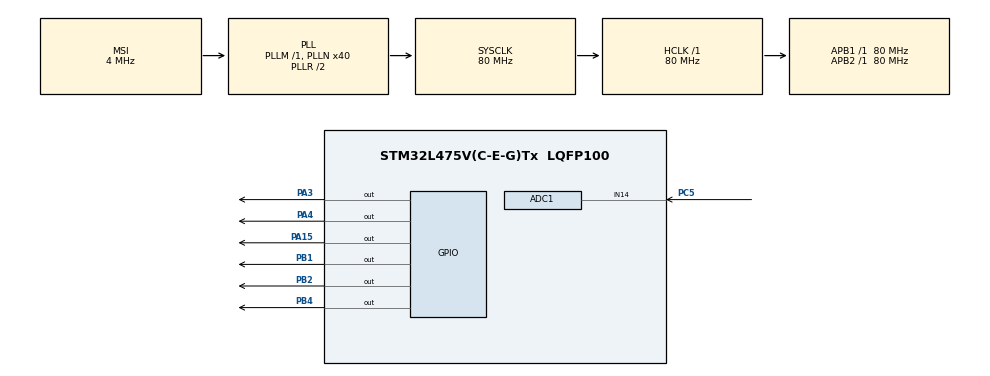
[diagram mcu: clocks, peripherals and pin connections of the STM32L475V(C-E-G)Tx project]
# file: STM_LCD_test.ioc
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ADC1.Channel-0\#ChannelRegularConversion=ADC_CHANNEL_14
ADC1.NbrOfConversionFlag=1
ADC1.OffsetNumber-0\#ChannelRegularConversion=ADC_OFFSET_NONE
ADC1.Rank-0\#ChannelRegularConversion=1
ADC1.SamplingTime-0\#ChannelRegularConversion=ADC_SAMPLETIME_2CYCLES_5
ADC1.master=1
Mcu.Family=STM32L4
Mcu.Name=STM32L475V(C-E-G)Tx
Mcu.Package=LQFP100
NVIC.PriorityGroup=NVIC_PRIORITYGROUP_4
PA15\ (JTDI).Signal=GPIO_Output
PA3.Signal=GPIO_Output
PA4.Signal=GPIO_Output
PB1.Signal=GPIO_Output
PB2.Signal=GPIO_Output
PB4\ (NJTRST).Signal=GPIO_Output
PC5.Signal=ADCx_IN14
ProjectManager.HeapSize=0x200
ProjectManager.StackSize=0x400
ProjectManager.TargetToolchain=STM32CubeIDE
RCC.ADCFreq_Value=32000000
RCC.AHBFreq_Value=80000000
RCC.APB1Freq_Value=80000000
RCC.APB1TimFreq_Value=80000000
RCC.APB2Freq_Value=80000000
RCC.APB2TimFreq_Value=80000000
RCC.CortexFreq_Value=80000000
RCC.HCLKFreq_Value=80000000
RCC.HSE_VALUE=8000000
RCC.HSI_VALUE=16000000
RCC.LSE_VALUE=32768
RCC.MSI_VALUE=4000000
RCC.PLLN=40
RCC.PLLSAI1N=16
RCC.SYSCLKFreq_VALUE=80000000
RCC.SYSCLKSource=RCC_SYSCLKSOURCE_PLLCLK
RCC.USBFreq_Value=32000000
RCC.VCOOutputFreq_Value=160000000
SH.ADCx_IN14.0=ADC1_IN14,IN14-Single-Ended
board=custom

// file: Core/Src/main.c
/* USER CODE BEGIN Header */
/**
  ******************************************************************************
  * @file           : main.c
  * @brief          : Main program body
  ******************************************************************************
  * @attention
  *
  * Copyright (c) 2025 STMicroelectronics.
  * All rights reserved.
  *
  * This software is licensed under terms that can be found in the LICENSE file
  * in the root directory of this software component.
  * If no LICENSE file comes with this software, it is provided AS-IS.
  *
  ******************************************************************************
  */
/* USER CODE END Header */
#include "main.h"

/* USER CODE BEGIN Includes */
#include "lcd.h"

#include <stdio.h>
/* USER CODE END Includes */

ADC_HandleTypeDef hadc1;

/* USER CODE BEGIN PV */

uint32_t int_value = 0;
/* USER CODE END PV */

void SystemClock_Config(void);
static void MX_GPIO_Init(void);
static void MX_ADC1_Init(void);

/* USER CODE BEGIN 0 */ //!!!!!!!!!!!!!!!!!!!!!!!!!!!!!!!!!!!!

static uint16_t ADC_ReadOnce(void)
{
  HAL_ADC_Start(&hadc1);
  HAL_ADC_PollForConversion(&hadc1, 10);
  uint16_t v = (uint16_t)HAL_ADC_GetValue(&hadc1);
  HAL_ADC_Stop(&hadc1);
  return v;
}

static uint16_t ADC_ReadAvg(uint8_t n)
{
  uint32_t sum = 0;
  for (uint8_t i = 0; i < n; i++)
  {
    sum += ADC_ReadOnce();
    HAL_Delay(2);
  }
  return (uint16_t)(sum / n);
}

typedef enum {
  BTN_NONE = 0,
  BTN_RIGHT,
  BTN_UP,
  BTN_DOWN,
  BTN_LEFT,
  BTN_SELECT
} Button_t;

// Platzhalter-Schwellen -> nach Messung anpassen!
static Button_t Button_FromAdc(uint16_t adc)
{
  // gemessene Werte:
  // NONE: 4095
  // RIGHT: ~0
  // UP: ~1220
  // DOWN: ~2470
  // LEFT: ~3790
  // SELECT: ~4095

  if (adc < 200)   return BTN_RIGHT;   // 0

  if (adc < 1800)  return BTN_UP;      // 1220

  if (adc < 3200)  return BTN_DOWN;    // 2440

  if (adc < 3800)  return BTN_LEFT;    // 3675

  if (adc < 4090)  return BTN_SELECT;    //

  return BTN_NONE; // >= 4000 (NONE / SELECT derzeit nicht unterscheidbar)
}

static const char* Button_Name(Button_t b)
{
  switch (b)
  {
    case BTN_RIGHT:  return "RIGHT";
    case BTN_UP:     return "UP";
    case BTN_DOWN:   return "DOWN";
    case BTN_LEFT:   return "LEFT";
    case BTN_SELECT: return "SELECT";
    default:         return "NONE";
  }
}

// einfache Entprellung + "new press" Erkennung
static Button_t Button_GetPressed(void)
{
  static Button_t lastStable = BTN_NONE;
  static uint32_t lastChangeMs = 0;

  uint16_t adc = ADC_ReadAvg(5);
  Button_t now = Button_FromAdc(adc);

  uint32_t t = HAL_GetTick();

  if (now != lastStable)
  {
    // Status hat sich geändert -> erst stabil werden lassen
    lastChangeMs = t;
    lastStable = now;
    return BTN_NONE;
  }

  // mind. 40ms stabil?
  if ((t - lastChangeMs) < 40)
    return BTN_NONE;

  // Flankenerkennung: nur melden wenn Taste != NONE und davor NONE war
  static Button_t lastReported = BTN_NONE;
  Button_t pressed = BTN_NONE;

  if (lastStable != BTN_NONE && lastReported == BTN_NONE)
    pressed = lastStable;

  lastReported = lastStable;
  return pressed;
}

/* USER CODE END 0 */

int main(void)
{

  /* MCU Configuration--------------------------------------------------------*/

  /* Reset of all peripherals, Initializes the Flash interface and the Systick. */
  HAL_Init();

  /* Configure the system clock */
  SystemClock_Config();

  /* Initialize all configured peripherals */
  MX_GPIO_Init();
  MX_ADC1_Init();
  /* USER CODE BEGIN 2 */

  // Define ports of the input
  Lcd_PortType ports[] = {
  	GPIOA, GPIOB, GPIOB, GPIOA
  };

  // Define pins for the input
  Lcd_PinType pins[] = {GPIO_PIN_3, GPIO_PIN_4, GPIO_PIN_1, GPIO_PIN_4};

  Lcd_HandleTypeDef lcd;

  // Create the lcd object, with rs and en port/pin and the mode
  lcd = Lcd_create(ports, pins, GPIOB, GPIO_PIN_2, GPIOA, GPIO_PIN_15, LCD_4_BIT_MODE);
  HAL_Delay(50);
  // Initialise the lcd
  Lcd_init(&lcd);
  Lcd_string(&lcd, "LCD Ready");
  HAL_Delay(1000);

  /* USER CODE END 2 */

  /* Infinite loop */
  /* USER CODE BEGIN WHILE */

  while (1)
  {
    static Button_t lastBtn = BTN_NONE;
    static uint16_t lastAdc = 0;

    uint16_t adc = ADC_ReadAvg(5);
    Button_t btn = Button_FromAdc(adc);

    // Nur aktualisieren wenn sich Button oder Wert deutlich geändert hat
    if (btn != lastBtn || (adc > lastAdc + 10) || (adc + 10 < lastAdc))
    {
      char buffer[32];

      snprintf(buffer, sizeof(buffer),
               "BTN:%-6s(%4u)",
               Button_Name(btn),
               adc);

      Lcd_clear(&lcd);
      Lcd_string(&lcd, buffer);

      lastBtn = btn;
      lastAdc = adc;
    }

    HAL_Delay(60);
  }

 /* while (1)
  {
	  char buffer[32];
	  sprintf(buffer, "Time elapsed: %lu", int_value);
	  Lcd_clear(&lcd);
	  Lcd_string(&lcd, buffer);
	  HAL_Delay(1000);
	  int_value+=1;
    /* USER CODE END WHILE */

    /* USER CODE BEGIN 3 */
//}
  /* USER CODE END 3 */
}

void SystemClock_Config(void)
{
  RCC_OscInitTypeDef RCC_OscInitStruct = {0};
  RCC_ClkInitTypeDef RCC_ClkInitStruct = {0};

  /** Configure the main internal regulator output voltage
  */
  if (HAL_PWREx_ControlVoltageScaling(PWR_REGULATOR_VOLTAGE_SCALE1) != HAL_OK)
  {
    Error_Handler();
  }

  /** Initializes the RCC Oscillators according to the specified parameters
  * in the RCC_OscInitTypeDef structure.
  */
  RCC_OscInitStruct.OscillatorType = RCC_OSCILLATORTYPE_MSI;
  RCC_OscInitStruct.MSIState = RCC_MSI_ON;
  RCC_OscInitStruct.MSICalibrationValue = 0;
  RCC_OscInitStruct.MSIClockRange = RCC_MSIRANGE_6;
  RCC_OscInitStruct.PLL.PLLState = RCC_PLL_ON;
  RCC_OscInitStruct.PLL.PLLSource = RCC_PLLSOURCE_MSI;
  RCC_OscInitStruct.PLL.PLLM = 1;
  RCC_OscInitStruct.PLL.PLLN = 40;
  RCC_OscInitStruct.PLL.PLLP = RCC_PLLP_DIV7;
  RCC_OscInitStruct.PLL.PLLQ = RCC_PLLQ_DIV2;
  RCC_OscInitStruct.PLL.PLLR = RCC_PLLR_DIV2;
  if (HAL_RCC_OscConfig(&RCC_OscInitStruct) != HAL_OK)
  {
    Error_Handler();
  }

  /** Initializes the CPU, AHB and APB buses clocks
  */
  RCC_ClkInitStruct.ClockType = RCC_CLOCKTYPE_HCLK|RCC_CLOCKTYPE_SYSCLK
                              |RCC_CLOCKTYPE_PCLK1|RCC_CLOCKTYPE_PCLK2;
  RCC_ClkInitStruct.SYSCLKSource = RCC_SYSCLKSOURCE_PLLCLK;
  RCC_ClkInitStruct.AHBCLKDivider = RCC_SYSCLK_DIV1;
  RCC_ClkInitStruct.APB1CLKDivider = RCC_HCLK_DIV1;
  RCC_ClkInitStruct.APB2CLKDivider = RCC_HCLK_DIV1;

  if (HAL_RCC_ClockConfig(&RCC_ClkInitStruct, FLASH_LATENCY_4) != HAL_OK)
  {
    Error_Handler();
  }
}

static void MX_ADC1_Init(void)
{

  ADC_MultiModeTypeDef multimode = {0};
  ADC_ChannelConfTypeDef sConfig = {0};

  /** Common config
  */
  hadc1.Instance = ADC1;
  hadc1.Init.ClockPrescaler = ADC_CLOCK_ASYNC_DIV1;
  hadc1.Init.Resolution = ADC_RESOLUTION_12B;
  hadc1.Init.DataAlign = ADC_DATAALIGN_RIGHT;
  hadc1.Init.ScanConvMode = ADC_SCAN_DISABLE;
  hadc1.Init.EOCSelection = ADC_EOC_SINGLE_CONV;
  hadc1.Init.LowPowerAutoWait = DISABLE;
  hadc1.Init.ContinuousConvMode = DISABLE;
  hadc1.Init.NbrOfConversion = 1;
  hadc1.Init.DiscontinuousConvMode = DISABLE;
  hadc1.Init.ExternalTrigConv = ADC_SOFTWARE_START;
  hadc1.Init.ExternalTrigConvEdge = ADC_EXTERNALTRIGCONVEDGE_NONE;
  hadc1.Init.DMAContinuousRequests = DISABLE;
  hadc1.Init.Overrun = ADC_OVR_DATA_PRESERVED;
  hadc1.Init.OversamplingMode = DISABLE;
  if (HAL_ADC_Init(&hadc1) != HAL_OK)
  {
    Error_Handler();
  }

  /** Configure the ADC multi-mode
  */
  multimode.Mode = ADC_MODE_INDEPENDENT;
  if (HAL_ADCEx_MultiModeConfigChannel(&hadc1, &multimode) != HAL_OK)
  {
    Error_Handler();
  }

  /** Configure Regular Channel
  */
  sConfig.Channel = ADC_CHANNEL_14;
  sConfig.Rank = ADC_REGULAR_RANK_1;

  sConfig.SamplingTime = ADC_SAMPLETIME_2CYCLES_5;
  //sConfig.SamplingTime = ADC_SAMPLETIME_92CYCLES_5;

  sConfig.SingleDiff = ADC_SINGLE_ENDED;
  sConfig.OffsetNumber = ADC_OFFSET_NONE;
  sConfig.Offset = 0;
  if (HAL_ADC_ConfigChannel(&hadc1, &sConfig) != HAL_OK)
  {
    Error_Handler();
  }

}

static void MX_GPIO_Init(void)
{
  GPIO_InitTypeDef GPIO_InitStruct = {0};

  /* GPIO Ports Clock Enable */
  __HAL_RCC_GPIOA_CLK_ENABLE();
  __HAL_RCC_GPIOC_CLK_ENABLE();
  __HAL_RCC_GPIOB_CLK_ENABLE();

  /*Configure GPIO pin Output Level */
  HAL_GPIO_WritePin(GPIOA, GPIO_PIN_3|GPIO_PIN_4|GPIO_PIN_15, GPIO_PIN_RESET);

  /*Configure GPIO pin Output Level */
  HAL_GPIO_WritePin(GPIOB, GPIO_PIN_1|GPIO_PIN_2|GPIO_PIN_4, GPIO_PIN_RESET);

  /*Configure GPIO pins : PA3 PA4 PA15 */
  GPIO_InitStruct.Pin = GPIO_PIN_3|GPIO_PIN_4|GPIO_PIN_15;
  GPIO_InitStruct.Mode = GPIO_MODE_OUTPUT_PP;
  GPIO_InitStruct.Pull = GPIO_NOPULL;
  GPIO_InitStruct.Speed = GPIO_SPEED_FREQ_LOW;
  HAL_GPIO_Init(GPIOA, &GPIO_InitStruct);

  /*Configure GPIO pins : PB1 PB2 PB4 */
  GPIO_InitStruct.Pin = GPIO_PIN_1|GPIO_PIN_2|GPIO_PIN_4;
  GPIO_InitStruct.Mode = GPIO_MODE_OUTPUT_PP;
  GPIO_InitStruct.Pull = GPIO_NOPULL;
  GPIO_InitStruct.Speed = GPIO_SPEED_FREQ_LOW;
  HAL_GPIO_Init(GPIOB, &GPIO_InitStruct);

}

void Error_Handler(void)
{
  __disable_irq();
  while (1)
  {
  }
}
